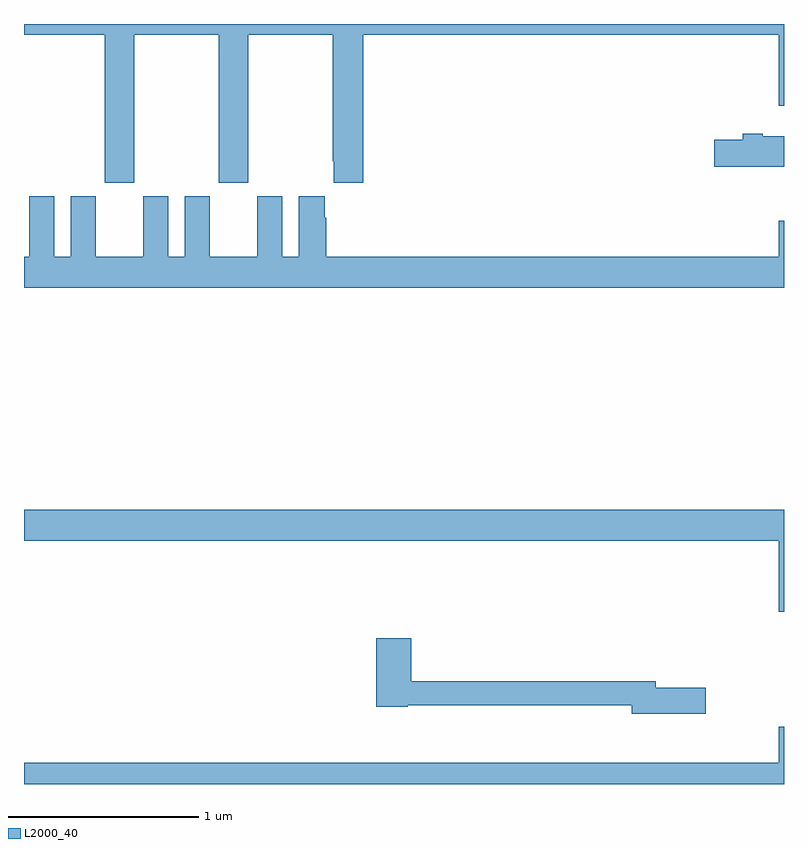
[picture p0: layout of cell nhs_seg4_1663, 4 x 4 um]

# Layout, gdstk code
import gdstk
lib = gdstk.Library(unit=1e-6, precision=1e-09)
def P(c, l, *ps):  # polygons
    for p in ps: c.add(gdstk.Polygon(p, *l))
L2000_40 = (2000, 40)

nhs_seg4_1663 = lib.new_cell('nhs_seg4_1663')
P(nhs_seg4_1663, L2000_40, [(197.58,772.844),(198.025,772.844),(198.025,772.065),(198.18,772.065),(198.18,772.844),(198.625,772.844),(198.625,772.177),(198.629,772.177),(198.629,772.065),(198.785,772.065),(198.785,772.844),(200.972,772.844),(200.972,772.47),(201,772.47),(201,772.9),(197,772.9),(197,772.844),(197.425,772.844),(197.425,772.065),(197.58,772.065)],
  [(201,772.309),(200.887,772.309),(200.887,772.322),(200.783,772.322),(200.783,772.292),(200.634,772.292),(200.634,772.15),(201,772.15)],
  [(201,771.865),(200.972,771.865),(200.972,771.676),(198.59,771.676),(198.59,771.881),(198.583,771.881),(198.583,771.994),(198.446,771.994),(198.446,771.676),(198.358,771.676),(198.358,771.994),(198.227,771.994),(198.227,771.676),(197.977,771.676),(197.977,771.994),(197.846,771.994),(197.846,771.676),(197.758,771.676),(197.758,771.994),(197.627,771.994),(197.627,771.676),(197.377,771.676),(197.377,771.994),(197.246,771.994),(197.246,771.676),(197.158,771.676),(197.158,771.994),(197.027,771.994),(197.027,771.676),(197,771.676),(197,771.512),(201,771.512)],
  [(201,770.344),(197,770.344),(197,770.18),(200.972,770.18),(200.972,769.806),(201,769.806)],
  [(200.587,769.406),(200.326,769.406),(200.326,769.442),(199.037,769.442),(199.037,769.666),(198.854,769.666),(198.854,769.306),(199.02,769.306),(199.02,769.314),(200.198,769.314),(200.198,769.271),(200.587,769.271)],
  [(201,769.201),(200.972,769.201),(200.972,769.012),(197,769.012),(197,768.9),(201,768.9)])

lib.write_gds('nhs_seg4_1663.gds')
